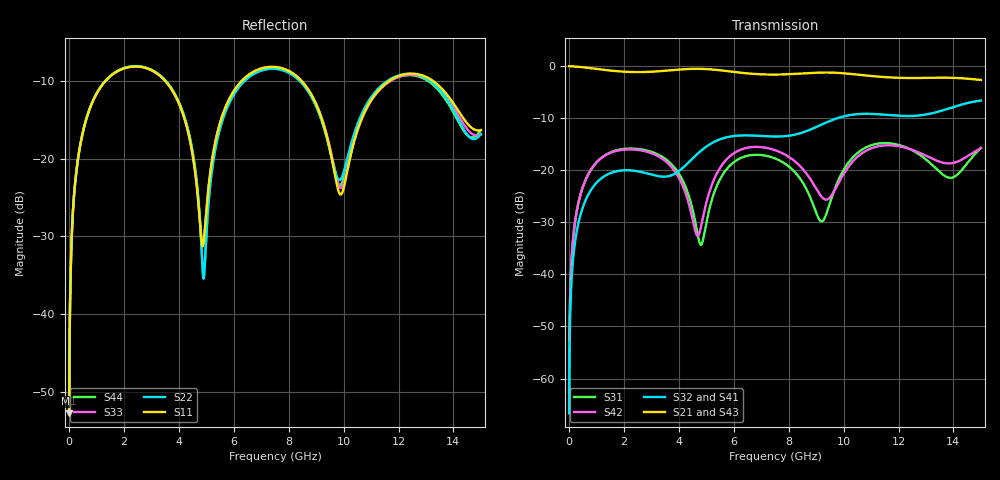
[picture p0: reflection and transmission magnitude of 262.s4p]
! Created with skrf 1.8.0 (http://scikit-rf.org).
# GHz S RI R 50.0
!freq ReS11 ImS11 ReS12 ImS12 ReS13 ImS13
! ReS14 ImS14
! ReS21 ImS21 ReS22 ImS22 ReS23 ImS23
! ReS24 ImS24
! ReS31 ImS31 ReS32 ImS32 ReS33 ImS33
! ReS34 ImS34
! ReS41 ImS41 ReS42 ImS42 ReS43 ImS43
! ReS44 ImS44
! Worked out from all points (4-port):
!   2499 points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, 5 MHz to 15 GHz, reference 50 ohm
!   strongest paths, dB at 5 MHz, 3.476 GHz, 7.19 GHz, 11.1 GHz, 15 GHz:
!     S21: 0.0, -0.9, -1.6, -1.9, -2.7
!     S43: 0.0, -0.9, -1.6, -1.9, -2.7
!     S32: -66.7, -21.2, -13.5, -9.2, -6.6
!     S41: -66.7, -21.2, -13.5, -9.2, -6.7
!     S42: -62.7, -18.1, -15.7, -15.6, -15.8
!     S31: -62.7, -17.7, -17.2, -15.1, -15.7
!   lowest |S11| = -52.8 dB at 5 MHz (marker M1), VSWR 1.00, Z = 50.2 + j0.14 ohm
!   |S11| at or under -10 dB: 3.5 GHz to 6.296 GHz (2.796 GHz wide, 57.1 % of centre); 8.464 GHz to 11.67 GHz (3.207 GHz wide, 31.9 % of centre); 13.25 GHz to end of sweep (the widest 3 of 4)
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0.005  0.00183 0.00139  0.9981 -0.00356  9.26e-05 0.000725  -8.98e-05 -0.000455
       0.9981 -0.00356  0.00183 0.00139  -8.98e-05 -0.000455  9.25e-05 0.000725
       9.26e-05 0.000725  -8.98e-05 -0.000455  0.00183 0.00139  0.9981 -0.00356
       -8.98e-05 -0.000455  9.25e-05 0.000725  0.9981 -0.00356  0.00183 0.00139
0.3126303  0.0289 0.0905  0.9603 -0.2206  0.0137 0.0424  -0.0112 -0.0262
           0.9603 -0.2206  0.029 0.0905  -0.0112 -0.0262  0.0133 0.0425
           0.0137 0.0424  -0.0112 -0.0262  0.0289 0.0905  0.9603 -0.2206
           -0.0112 -0.0262  0.0133 0.0425  0.9603 -0.2206  0.029 0.0905
1.419341  0.2765 0.1758  0.5342 -0.7376  0.1332 0.0567  -0.0915 -0.00359
          0.5342 -0.7376  0.278 0.1748  -0.0916 -0.00357  0.1288 0.0629
          0.1332 0.0567  -0.0916 -0.00357  0.2765 0.1759  0.5342 -0.7376
          -0.0915 -0.00359  0.1288 0.0629  0.5342 -0.7376  0.278 0.1748
4.899091  0.0275 0.00787  -0.9371 -0.0644  -0.0154 0.0164  -0.0065 0.1607
          -0.9371 -0.0644  0.0169 -0.000814  -0.00609 0.1608  0.0305 0.0214
          -0.0154 0.0164  -0.00609 0.1608  0.0275 0.00752  -0.9371 -0.0646
          -0.0065 0.1607  0.0305 0.0214  -0.9371 -0.0646  0.0169 -0.00117
7.396832  0.3886 0.00267  -0.0885 0.8238  0.1185 -0.0603  0.2081 -0.0322
          -0.0885 0.8238  0.3778 0.0168  0.2084 -0.0331  0.1261 -0.097
          0.1185 -0.0603  0.2084 -0.0331  0.3883 0.00398  -0.0885 0.8239
          0.2081 -0.0322  0.1261 -0.097  -0.0885 0.8239  0.3777 0.0153
10.16674  0.0718 0.0513  0.8436 -0.0597  0.0509 0.1056  -0.039 -0.3348
          0.8436 -0.0597  0.0883 0.0572  -0.0412 -0.3337  0.0318 0.102
          0.0509 0.1056  -0.0412 -0.3337  0.0774 0.0474  0.844 -0.0588
          -0.039 -0.3348  0.0318 0.102  0.844 -0.0588  0.0816 0.0551
15  0.1519 -0.00973  -0.7328 -0.0663  0.0285 0.1614  -0.0285 0.463
    -0.7328 -0.0663  0.1418 0.0201  -0.0261 0.4652  -0.0249 0.1611
    0.0285 0.1614  -0.0261 0.4652  0.1428 -0.000592  -0.7332 -0.0615
    -0.0285 0.463  -0.0249 0.1611  -0.7332 -0.0615  0.1486 0.0322
